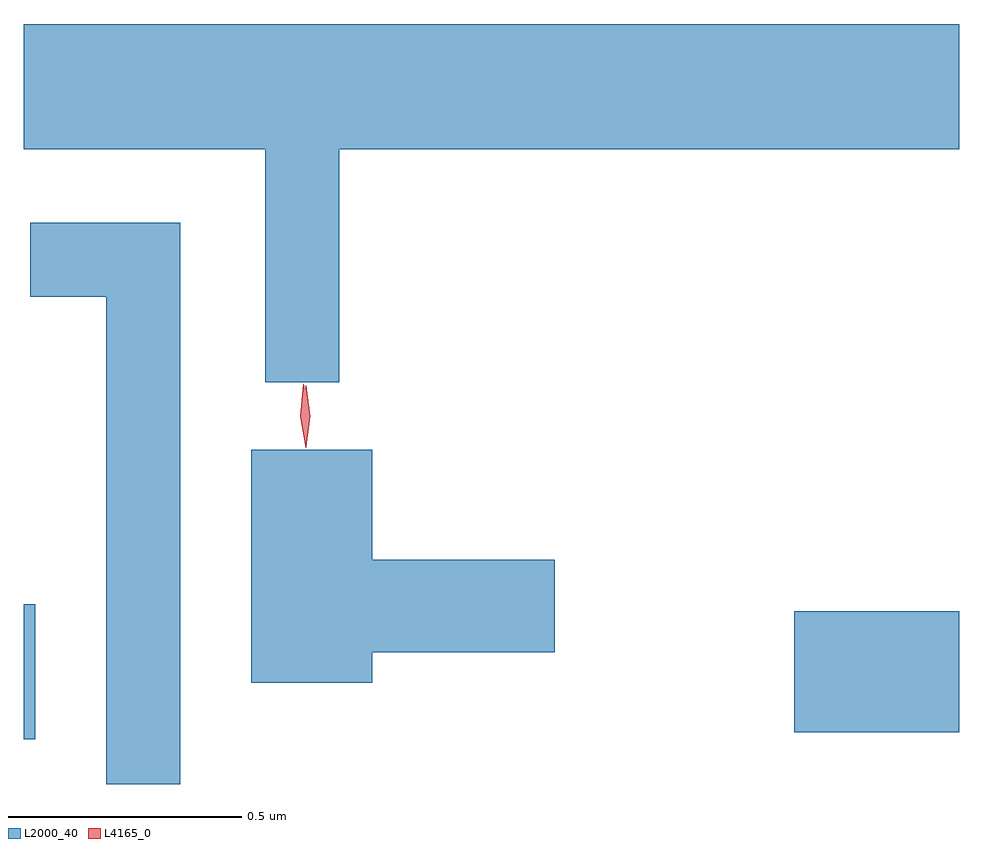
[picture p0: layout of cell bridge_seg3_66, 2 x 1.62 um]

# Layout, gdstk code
import gdstk
lib = gdstk.Library(unit=1e-6, precision=1e-09)
def R(c, l, rs):  # rectangles x0, y0, x1, y1
    for r in rs: c.add(gdstk.rectangle(r[:2], r[2:], *l))
def P(c, l, *ps):  # polygons
    for p in ps: c.add(gdstk.Polygon(p, *l))
L2000_40 = (2000, 40)
L4165_0 = (4165, 0)

bridge_seg3_66 = lib.new_cell('bridge_seg3_66')
R(bridge_seg3_66, L2000_40, [(1154.559,1149.176,1154.584,1149.464), (1156.206,1149.191,1156.559,1149.449)])
P(bridge_seg3_66, L2000_40, [(1155.234,1150.436),(1156.559,1150.436),(1156.559,1150.704),(1154.559,1150.704),(1154.559,1150.436),(1155.076,1150.436),(1155.076,1149.938),(1155.234,1149.938)],
  [(1154.894,1150.279),(1154.573,1150.279),(1154.573,1150.121),(1154.736,1150.121),(1154.736,1149.08),(1154.894,1149.08)],
  [(1155.304,1149.361),(1155.694,1149.361),(1155.694,1149.559),(1155.304,1149.559),(1155.304,1149.794),(1155.046,1149.794),(1155.046,1149.296),(1155.304,1149.296)])
P(bridge_seg3_66, L4165_0, [(1155.162,1149.8),(1155.162,1149.801),(1155.152,1149.866),(1155.162,1149.931),(1155.162,1149.932),(1155.163,1149.931),(1155.172,1149.866),(1155.163,1149.801)],
  [(1155.162,1149.798),(1155.162,1149.798),(1155.15,1149.866),(1155.157,1149.934),(1155.157,1149.935),(1155.158,1149.934),(1155.17,1149.867),(1155.163,1149.798)])

lib.write_gds('bridge_seg3_66.gds')
